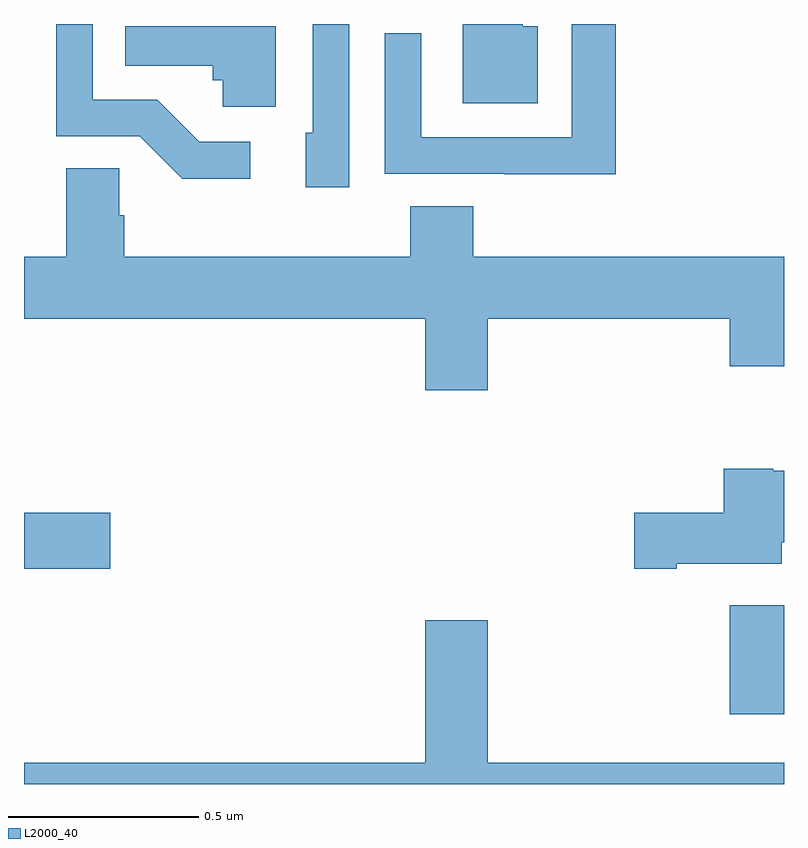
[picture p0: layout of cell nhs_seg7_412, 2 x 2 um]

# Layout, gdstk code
import gdstk
lib = gdstk.Library(unit=1e-6, precision=1e-09)
def R(c, l, rs):  # rectangles x0, y0, x1, y1
    for r in rs: c.add(gdstk.rectangle(r[:2], r[2:], *l))
def P(c, l, *ps):  # polygons
    for p in ps: c.add(gdstk.Polygon(p, *l))
L2000_40 = (2000, 40)

nhs_seg7_412 = lib.new_cell('nhs_seg7_412')
R(nhs_seg7_412, L2000_40, [(117.857,1058.184,118,1058.47), (116,1058.567,116.227,1058.714)])
P(nhs_seg7_412, L2000_40, [(116.856,1060),(116.76,1060),(116.76,1059.714),(116.741,1059.714),(116.741,1059.57),(116.856,1059.57)],
  [(117.352,1059.994),(117.313,1059.994),(117.313,1060),(117.155,1060),(117.155,1059.791),(117.352,1059.791)],
  [(116.596,1059.69),(116.461,1059.69),(116.35,1059.801),(116.181,1059.801),(116.181,1060),(116.085,1060),(116.085,1059.705),(116.304,1059.705),(116.417,1059.593),(116.596,1059.593)],
  [(117.557,1060),(117.441,1060),(117.441,1059.702),(117.045,1059.702),(117.045,1059.976),(116.949,1059.976),(116.949,1059.606),(117.265,1059.606),(117.265,1059.605),(117.557,1059.605)],
  [(116.662,1059.994),(116.266,1059.994),(116.266,1059.89),(116.497,1059.89),(116.497,1059.852),(116.523,1059.852),(116.523,1059.782),(116.662,1059.782)],
  [(117.22,1059.224),(117.857,1059.224),(117.857,1059.1),(118,1059.1),(118,1059.388),(117.182,1059.388),(117.182,1059.521),(117.017,1059.521),(117.017,1059.388),(116.264,1059.388),(116.264,1059.497),(116.25,1059.497),(116.25,1059.62),(116.111,1059.62),(116.111,1059.388),(116,1059.388),(116,1059.224),(117.056,1059.224),(117.056,1059.036),(117.22,1059.036)],
  [(117.718,1058.579),(117.994,1058.579),(117.994,1058.636),(118,1058.636),(118,1058.824),(117.972,1058.824),(117.972,1058.83),(117.842,1058.83),(117.842,1058.714),(117.606,1058.714),(117.606,1058.567),(117.718,1058.567)],
  [(118,1058.056),(117.22,1058.056),(117.22,1058.431),(117.056,1058.431),(117.056,1058.056),(116,1058.056),(116,1058),(118,1058)])

lib.write_gds('nhs_seg7_412.gds')
